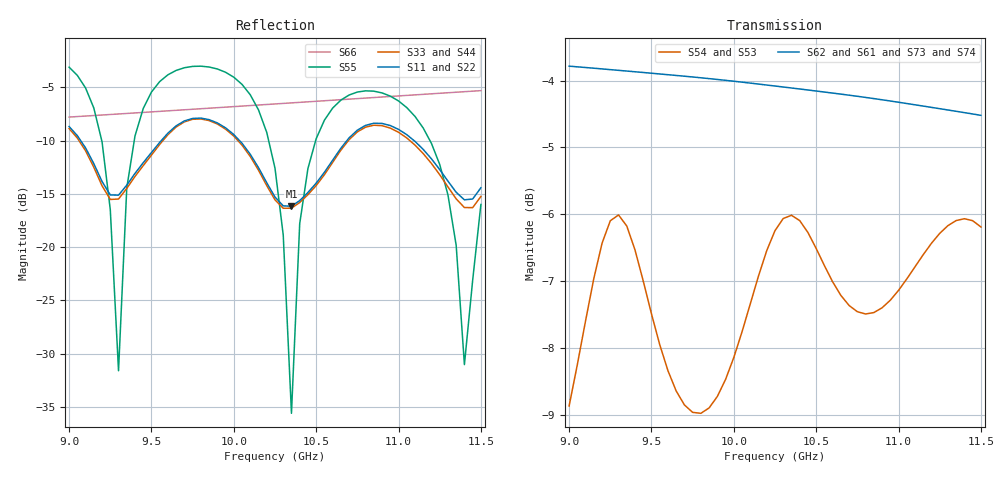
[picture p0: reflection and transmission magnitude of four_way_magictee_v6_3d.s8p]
! Full 3-D v6 four-way tree: IN1 IN2 IN3 IN4 OUT DUMP_A DUMP_B DUMP_C
# GHz S MA R 50
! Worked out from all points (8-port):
!   51 points, 9 GHz to 11.5 GHz, reference 50 ohm
!   strongest paths, dB at 9 GHz, 9.6 GHz, 10.25 GHz, 10.9 GHz, 11.5 GHz:
!     S62: -3.8, -3.9, -4.1, -4.3, -4.5
!     S61: -3.8, -3.9, -4.1, -4.3, -4.5
!     S73: -3.8, -3.9, -4.1, -4.3, -4.5
!     S74: -3.8, -3.9, -4.1, -4.3, -4.5
!     S54: -8.9, -8.3, -6.2, -7.4, -6.2
!     S53: -8.9, -8.3, -6.3, -7.4, -6.2
!   lowest |S11| = -16.2 dB at 10.35 GHz (marker M1), VSWR 1.37, Z = 37.2 - j4.5 ohm
!   |S11| at or under -10 dB: 9.07 GHz to 9.56 GHz (490.4 MHz wide, 5.26 % of centre); 10.03 GHz to 10.69 GHz (653.3 MHz wide, 6.31 % of centre); 11.09 GHz to end of sweep
